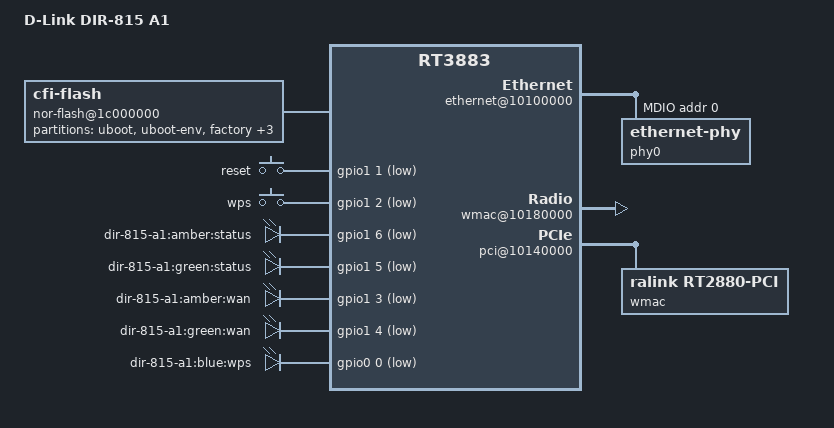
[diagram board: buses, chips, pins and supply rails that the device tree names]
/dts-v1/;

#include "rt3883.dtsi"

/ {
	compatible = "DIR-815-A1", "ralink,rt3883-soc";
	model = "D-Link DIR-815 A1";

	palmbus@10000000 {
		gpio1: gpio@638 {
			status = "okay";
		};
	};

	nor-flash@1c000000 {
		compatible = "cfi-flash";
		reg = <0x1c000000 0x800000>;

		bank-width = <2>;
		#address-cells = <1>;
		#size-cells = <1>;
		partition@0 {
			label = "uboot";
			reg = <0x0 0x30000>;
			read-only;
		};
		partition@30000 {
			label = "uboot-env";
			reg = <0x30000 0x4000>;
			read-only;
		};
		factory: partition@34000 {
			label = "factory";
			reg = <0x34000 0x4000>;
			read-only;
		};
		partition@38000 {
			label = "nvram";
			reg = <0x38000 0x8000>;
			read-only;
		};
		partition@40000 {
			label = "devdata";
			reg = <0x40000 0x10000>;
			read-only;
		};
		partition@50000 {
			label = "firmware";
			reg = <0x50000 0x3b0000>;
		};
	};

	pinctrl {
		state_default: pinctrl0 {
			gpio {
				ralink,group = "spi", "i2c", "jtag", "uartf";
				ralink,function = "gpio";
			};
		};
	};

	ethernet@10100000 {
		status = "okay";
		mtd-mac-address = <&factory 0x4>;

		port@0 {
			phy-handle = <&phy0>;
			phy-mode = "mii";
		};

		mdio-bus {
			status = "okay";
			phy0: ethernet-phy@0 {
				phy-mode = "mii";
				reg = <0>;
			};
		};

	};

	wmac@10180000 {
		status = "okay";
		ralink,2ghz = <0>;
		ralink,mtd-eeprom = <&factory 0>;
		mtd-mac-address = <&factory 0x4>;
	};

	pci@10140000 {
		status = "okay";

		pinctrl-names = "default";
		pinctrl-0 = <&pci_pins>;
		pci_pins: pci {
			pci {
				ralink,group = "pci";
				ralink,function = "pci-fnc";
			};
		};

		host-bridge {
			pci-bridge@1 {
				status = "okay";
				wmac@0,0 {
					compatible = "ralink,rt2880-pci", "pciclass060400", "pciclass0604";
					ralink,5ghz = <0>;
					reg = < 0x10000 0 0 0 0 >;
					ralink,eeprom = "rt2x00pci_1_0.eeprom";
					mtd-mac-address = <&factory 0x2004>;
				};
			};
		};
	};

	gpio-keys-polled {
		compatible = "gpio-keys-polled";
		#address-cells = <1>;
		#size-cells = <0>;
		poll-interval = <100>;
		reset {
			label = "reset";
			gpios = <&gpio1 1 1>;
			linux,code = <0x198>;
		};
		wps {
			label = "wps";
			gpios = <&gpio1 2 1>;
			linux,code = <0x211>;
		};
	};

	gpio-leds {
		compatible = "gpio-leds";
		status {
			label = "dir-815-a1:amber:status";
			gpios = <&gpio1 6 1>;
			default-state = "on";
		};
		status2 {
			label = "dir-815-a1:green:status";
			gpios = <&gpio1 5 1>;
		};
		wan {
			label = "dir-815-a1:amber:wan";
			gpios = <&gpio1 3 1>;
		};
		wan2 {
			label = "dir-815-a1:green:wan";
			gpios = <&gpio1 4 1>;
		};
		wps {
			label = "dir-815-a1:blue:wps";
			gpios = <&gpio0 0 1>;
		};
	};
};
